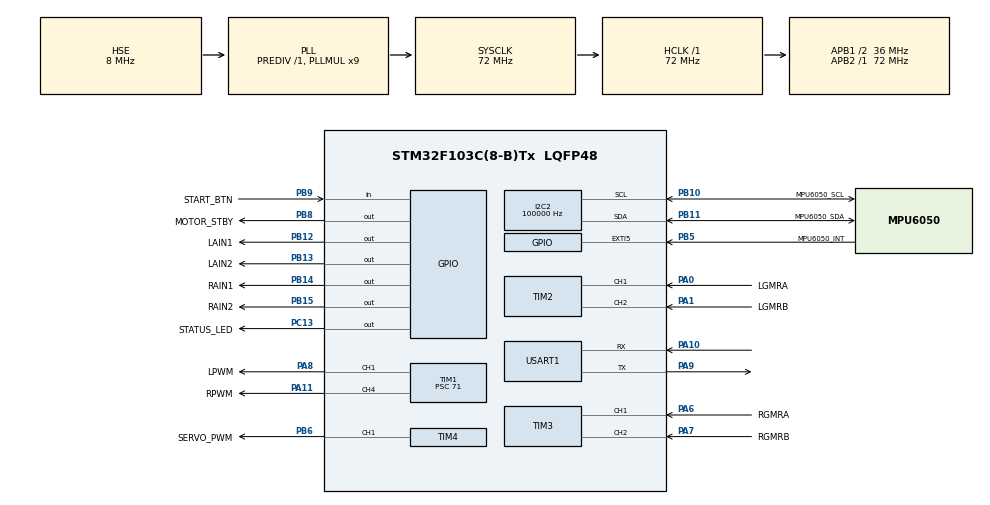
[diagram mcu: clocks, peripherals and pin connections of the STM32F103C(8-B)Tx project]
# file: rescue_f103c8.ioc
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Mcu.Family=STM32F1
Mcu.Name=STM32F103C(8-B)Tx
Mcu.Package=LQFP48
I2C2.ClockSpeed=100000
I2C2.DutyCycle=I2C_DUTYCYCLE_2
NVIC.EXTI9_5_IRQn=true\:1\:0\:false\:false\:true\:true\:true\:true
NVIC.PriorityGroup=NVIC_PRIORITYGROUP_4
NVIC.USART1_IRQn=true\:0\:0\:false\:false\:true\:true\:true\:true
PA0-WKUP.GPIO_Label=LGMRA
PA0-WKUP.Signal=S_TIM2_CH1_ETR
PA1.GPIO_Label=LGMRB
PA1.Signal=S_TIM2_CH2
PA10.Mode=Asynchronous
PA10.Signal=USART1_RX
PA11.GPIO_Label=RPWM
PA11.Signal=S_TIM1_CH4
PA13.Mode=Serial_Wire
PA13.Signal=SYS_JTMS-SWDIO
PA14.Mode=Serial_Wire
PA14.Signal=SYS_JTCK-SWCLK
PA6.GPIO_Label=RGMRA
PA6.Signal=S_TIM3_CH1
PA7.GPIO_Label=RGMRB
PA7.Signal=S_TIM3_CH2
PA8.GPIO_Label=LPWM
PA8.Signal=S_TIM1_CH1
PA9.Mode=Asynchronous
PA9.Signal=USART1_TX
PB10.GPIO_Label=MPU6050_SCL
PB10.Mode=I2C
PB10.Signal=I2C2_SCL
PB11.GPIO_Label=MPU6050_SDA
PB11.Mode=I2C
PB11.Signal=I2C2_SDA
PB12.GPIO_Label=LAIN1
PB12.Signal=GPIO_Output
PB13.GPIO_Label=LAIN2
PB13.Signal=GPIO_Output
PB14.GPIO_Label=RAIN1
PB14.Signal=GPIO_Output
PB15.GPIO_Label=RAIN2
PB15.Signal=GPIO_Output
PB5.GPIO_Label=MPU6050_INT
PB5.GPIO_ModeDefaultEXTI=GPIO_MODE_IT_RISING
PB5.GPIO_PuPd=GPIO_PULLDOWN
PB5.Signal=GPXTI5
PB6.GPIO_Label=SERVO_PWM
PB6.Signal=S_TIM4_CH1
PB8.GPIO_Label=MOTOR_STBY
PB8.Signal=GPIO_Output
PB9.GPIO_Label=START_BTN
PB9.GPIO_PuPd=GPIO_PULLUP
PB9.Signal=GPIO_Input
PC13-TAMPER-RTC.GPIO_Label=STATUS_LED
PC13-TAMPER-RTC.GPIO_Speed=GPIO_SPEED_FREQ_LOW
PC13-TAMPER-RTC.PinState=GPIO_PIN_RESET
PC13-TAMPER-RTC.Signal=GPIO_Output
PD0-OSC_IN.Mode=HSE-External-Oscillator
PD0-OSC_IN.Signal=RCC_OSC_IN
PD1-OSC_OUT.Mode=HSE-External-Oscillator
PD1-OSC_OUT.Signal=RCC_OSC_OUT
ProjectManager.HeapSize=0x200
ProjectManager.StackSize=0x400
ProjectManager.TargetToolchain=CMake
RCC.AHBCLKDivider=RCC_SYSCLK_DIV1
RCC.AHBFreq_Value=72000000
RCC.APB1CLKDivider=RCC_HCLK_DIV2
RCC.APB1Freq_Value=36000000
RCC.APB1TimFreq_Value=72000000
RCC.APB2Freq_Value=72000000
RCC.APB2TimFreq_Value=72000000
RCC.HCLKFreq_Value=72000000
RCC.PLLMUL=RCC_PLL_MUL9
RCC.PLLSourceVirtual=RCC_PLLSOURCE_HSE
RCC.SYSCLKFreq_VALUE=72000000
RCC.SYSCLKSource=RCC_SYSCLKSOURCE_PLLCLK
RCC.USBFreq_Value=72000000
SH.S_TIM1_CH1.0=TIM1_CH1,PWM Generation1 CH1
SH.S_TIM1_CH4.0=TIM1_CH4,PWM Generation4 CH4
SH.S_TIM2_CH1_ETR.0=TIM2_CH1,Encoder_Interface
SH.S_TIM2_CH2.0=TIM2_CH2,Encoder_Interface
SH.S_TIM3_CH1.0=TIM3_CH1,Encoder_Interface
SH.S_TIM3_CH2.0=TIM3_CH2,Encoder_Interface
SH.S_TIM4_CH1.0=TIM4_CH1,PWM Generation1 CH1
TIM1.Channel-PWM\ Generation1\ CH1=TIM_CHANNEL_1
TIM1.Channel-PWM\ Generation4\ CH4=TIM_CHANNEL_4
TIM1.Period=49
TIM1.Prescaler=71
TIM2.EncoderMode=TIM_ENCODERMODE_TI12
TIM2.IC1Filter=4
TIM2.IC2Filter=4
TIM3.EncoderMode=TIM_ENCODERMODE_TI12
TIM3.IC1Filter=4
TIM3.IC2Filter=4
TIM4.Channel-PWM\ Generation1\ CH1=TIM_CHANNEL_1
TIM4.Period=19999
TIM4.Prescaler=71
USART1.VirtualMode=VM_ASYNC
board=custom

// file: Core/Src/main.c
/* USER CODE BEGIN Header */
/**
  ******************************************************************************
  * @file           : main.c
  * @brief          : Main program body
  ******************************************************************************
  * @attention
  *
  * Copyright (c) 2026 STMicroelectronics.
  * All rights reserved.
  *
  * This software is licensed under terms that can be found in the LICENSE file
  * in the root directory of this software component.
  * If no LICENSE file comes with this software, it is provided AS-IS.
  *
  ******************************************************************************
  */
/* USER CODE END Header */
#include "main.h"

/* USER CODE BEGIN Includes */
#include "command.h"
#include "encoder.h"
#include "motor.h"
#include "mpu6050.h"
#include "odometry.h"
#include "servo.h"
#include "speed_control.h"
#include "telemetry.h"

/* USER CODE END Includes */

I2C_HandleTypeDef hi2c2;

TIM_HandleTypeDef htim1;
TIM_HandleTypeDef htim2;
TIM_HandleTypeDef htim3;
TIM_HandleTypeDef htim4;

UART_HandleTypeDef huart1;

void SystemClock_Config(void);
static void MX_GPIO_Init(void);
static void MX_I2C2_Init(void);
static void MX_TIM1_Init(void);
static void MX_TIM2_Init(void);
static void MX_TIM3_Init(void);
static void MX_TIM4_Init(void);
static void MX_USART1_UART_Init(void);

int main(void)
{

  /* MCU Configuration--------------------------------------------------------*/

  /* Reset of all peripherals, Initializes the Flash interface and the Systick. */
  HAL_Init();

  /* Configure the system clock */
  SystemClock_Config();

  /* Initialize all configured peripherals */
  MX_GPIO_Init();
  MX_I2C2_Init();
  MX_TIM1_Init();
  MX_TIM2_Init();
  MX_TIM3_Init();
  MX_TIM4_Init();
  MX_USART1_UART_Init();
  /* USER CODE BEGIN 2 */

  /* PWM 启动后仍保持 MOTOR_STBY=0，直到 START 或实体按钮解锁。 */
  if (Motor_Init(&htim1) != HAL_OK)
  {
    Error_Handler();
  }

  if (Encoder_Init(&htim2, &htim3) != HAL_OK)
  {
    Error_Handler();
  }

  if (Servo_Init(&htim4) != HAL_OK)
  {
    Error_Handler();
  }

  /*
   * IMU(MPU6050) 故障**不得**拖垮整条链路 —— 这里刻意不调用 Error_Handler()。
   *
   * 原因（2026-09-16 现场实际踩到，排查耗时数小时）：
   *   Error_Handler() 是 `__disable_irq(); while(1){}` 的**永久死循环**，
   *   而 Telemetry_Init() 排在 MPU6050_Init() **之后**。于是只要 IMU 没接上 /
   *   没供电 / 虚焊 / SCL·SDA 接错 / WHO_AM_I 不为 0x68，
   *   固件就会在初始化阶段卡死，**遥测一个字节都不发**。
   *   上位机侧表现为"串口能打开但完全无数据"，极易被误判为
   *   RDK 串口故障或接线问题，实际是 IMU 支路把整个 MCU 拖死。
   *
   * 降级行为（各下游本来就已做好守卫，故安全）：
   *   - MPU6050_Update() 有 `if (!initialized) return HAL_ERROR;`
   *   - MPU6050_GetLatestSample() 在 sample_valid=false 时返回 false
   *   - Telemetry_Update() 的 IMU 段仅在 GetLatestSample 为真时才发，
   *     IMU 行自动跳过；ODOM / TEL 以及命令交互照常工作。
   *   即：没有 IMU 时定位用纯里程计（少了陀螺仪修正），但机器人不再变砖。
   *
   * 其他初始化（Motor/Encoder/Servo/Command）只检查静态定时器指针与 HAL 返回值，
   * 现实中不会失败，故仍保留 Error_Handler() 作为真正的致命保护。
   * IMU 状态可用 MPU6050_GetLastStatus() 查询（HAL_OK=正常，其余=故障）。
   */
  (void)MPU6050_Init(&hi2c2);

  SpeedControl_Init();
  Odometry_Init();
  Telemetry_Init(&huart1);

  if (Command_Init(&huart1) != HAL_OK)
  {
    Error_Handler();
  }

  /* USER CODE END 2 */

  /* Infinite loop */
  while (1)
  {

    /* USER CODE BEGIN 3 */
    Command_Update();

    /* IMU 未就绪时周期性重试初始化。
       启动时那次 MPU6050_Init 已改为非致命（不会 Error_Handler 死循环），
       但若就此不重试，开机瞬间没应答就会**整场没有 IMU 帧**
       （2026-09-17 实测：串口只剩 ODOM/TEL，上位机自检报 IMU 失败）。
       本调用失败时每 1s 重试一次，成功后自动转为正常，开销可忽略。 */
    MPU6050_TaskRetryInit(&hi2c2);

    (void)MPU6050_Update();

    if (Encoder_Update())
    {
      Odometry_Update(
          Encoder_GetLeftDelta(),
          Encoder_GetRightDelta(),
          Encoder_GetSamplePeriodSeconds());

      SpeedControl_Update(
          Encoder_GetLeftRpm(),
          Encoder_GetRightRpm(),
          Encoder_GetSamplePeriodSeconds());
    }

    Telemetry_Update(
        (int16_t)SpeedControl_GetLeftTargetRpm(),
        SpeedControl_GetLeftMeasuredRpm(),
        (int16_t)SpeedControl_GetRightTargetRpm(),
        SpeedControl_GetRightMeasuredRpm(),
        Motor_GetLeftCommand(),
        Motor_GetRightCommand());
  }
  /* USER CODE END 3 */
}

void SystemClock_Config(void)
{
  RCC_OscInitTypeDef RCC_OscInitStruct = {0};
  RCC_ClkInitTypeDef RCC_ClkInitStruct = {0};

  /** Initializes the RCC Oscillators according to the specified parameters
  * in the RCC_OscInitTypeDef structure.
  */
  RCC_OscInitStruct.OscillatorType = RCC_OSCILLATORTYPE_HSE;
  RCC_OscInitStruct.HSEState = RCC_HSE_ON;
  RCC_OscInitStruct.HSEPredivValue = RCC_HSE_PREDIV_DIV1;
  RCC_OscInitStruct.HSIState = RCC_HSI_ON;
  RCC_OscInitStruct.PLL.PLLState = RCC_PLL_ON;
  RCC_OscInitStruct.PLL.PLLSource = RCC_PLLSOURCE_HSE;
  RCC_OscInitStruct.PLL.PLLMUL = RCC_PLL_MUL9;
  if (HAL_RCC_OscConfig(&RCC_OscInitStruct) != HAL_OK)
  {
    Error_Handler();
  }

  /** Initializes the CPU, AHB and APB buses clocks
  */
  RCC_ClkInitStruct.ClockType = RCC_CLOCKTYPE_HCLK|RCC_CLOCKTYPE_SYSCLK
                              |RCC_CLOCKTYPE_PCLK1|RCC_CLOCKTYPE_PCLK2;
  RCC_ClkInitStruct.SYSCLKSource = RCC_SYSCLKSOURCE_PLLCLK;
  RCC_ClkInitStruct.AHBCLKDivider = RCC_SYSCLK_DIV1;
  RCC_ClkInitStruct.APB1CLKDivider = RCC_HCLK_DIV2;
  RCC_ClkInitStruct.APB2CLKDivider = RCC_HCLK_DIV1;

  if (HAL_RCC_ClockConfig(&RCC_ClkInitStruct, FLASH_LATENCY_2) != HAL_OK)
  {
    Error_Handler();
  }
}

static void MX_I2C2_Init(void)
{

  hi2c2.Instance = I2C2;
  hi2c2.Init.ClockSpeed = 100000;
  hi2c2.Init.DutyCycle = I2C_DUTYCYCLE_2;
  hi2c2.Init.OwnAddress1 = 0;
  hi2c2.Init.AddressingMode = I2C_ADDRESSINGMODE_7BIT;
  hi2c2.Init.DualAddressMode = I2C_DUALADDRESS_DISABLE;
  hi2c2.Init.OwnAddress2 = 0;
  hi2c2.Init.GeneralCallMode = I2C_GENERALCALL_DISABLE;
  hi2c2.Init.NoStretchMode = I2C_NOSTRETCH_DISABLE;
  if (HAL_I2C_Init(&hi2c2) != HAL_OK)
  {
    Error_Handler();
  }

}

static void MX_TIM1_Init(void)
{

  TIM_MasterConfigTypeDef sMasterConfig = {0};
  TIM_OC_InitTypeDef sConfigOC = {0};
  TIM_BreakDeadTimeConfigTypeDef sBreakDeadTimeConfig = {0};

  htim1.Instance = TIM1;
  htim1.Init.Prescaler = 71;
  htim1.Init.CounterMode = TIM_COUNTERMODE_UP;
  htim1.Init.Period = 49;
  htim1.Init.ClockDivision = TIM_CLOCKDIVISION_DIV1;
  htim1.Init.RepetitionCounter = 0;
  htim1.Init.AutoReloadPreload = TIM_AUTORELOAD_PRELOAD_DISABLE;
  if (HAL_TIM_PWM_Init(&htim1) != HAL_OK)
  {
    Error_Handler();
  }
  sMasterConfig.MasterOutputTrigger = TIM_TRGO_RESET;
  sMasterConfig.MasterSlaveMode = TIM_MASTERSLAVEMODE_DISABLE;
  if (HAL_TIMEx_MasterConfigSynchronization(&htim1, &sMasterConfig) != HAL_OK)
  {
    Error_Handler();
  }
  sConfigOC.OCMode = TIM_OCMODE_PWM1;
  sConfigOC.Pulse = 0;
  sConfigOC.OCPolarity = TIM_OCPOLARITY_HIGH;
  sConfigOC.OCNPolarity = TIM_OCNPOLARITY_HIGH;
  sConfigOC.OCFastMode = TIM_OCFAST_DISABLE;
  sConfigOC.OCIdleState = TIM_OCIDLESTATE_RESET;
  sConfigOC.OCNIdleState = TIM_OCNIDLESTATE_RESET;
  if (HAL_TIM_PWM_ConfigChannel(&htim1, &sConfigOC, TIM_CHANNEL_1) != HAL_OK)
  {
    Error_Handler();
  }
  if (HAL_TIM_PWM_ConfigChannel(&htim1, &sConfigOC, TIM_CHANNEL_4) != HAL_OK)
  {
    Error_Handler();
  }
  sBreakDeadTimeConfig.OffStateRunMode = TIM_OSSR_DISABLE;
  sBreakDeadTimeConfig.OffStateIDLEMode = TIM_OSSI_DISABLE;
  sBreakDeadTimeConfig.LockLevel = TIM_LOCKLEVEL_OFF;
  sBreakDeadTimeConfig.DeadTime = 0;
  sBreakDeadTimeConfig.BreakState = TIM_BREAK_DISABLE;
  sBreakDeadTimeConfig.BreakPolarity = TIM_BREAKPOLARITY_HIGH;
  sBreakDeadTimeConfig.AutomaticOutput = TIM_AUTOMATICOUTPUT_DISABLE;
  if (HAL_TIMEx_ConfigBreakDeadTime(&htim1, &sBreakDeadTimeConfig) != HAL_OK)
  {
    Error_Handler();
  }
  HAL_TIM_MspPostInit(&htim1);

}

static void MX_TIM2_Init(void)
{

  TIM_Encoder_InitTypeDef sConfig = {0};
  TIM_MasterConfigTypeDef sMasterConfig = {0};

  htim2.Instance = TIM2;
  htim2.Init.Prescaler = 0;
  htim2.Init.CounterMode = TIM_COUNTERMODE_UP;
  htim2.Init.Period = 65535;
  htim2.Init.ClockDivision = TIM_CLOCKDIVISION_DIV1;
  htim2.Init.AutoReloadPreload = TIM_AUTORELOAD_PRELOAD_DISABLE;
  sConfig.EncoderMode = TIM_ENCODERMODE_TI12;
  sConfig.IC1Polarity = TIM_ICPOLARITY_RISING;
  sConfig.IC1Selection = TIM_ICSELECTION_DIRECTTI;
  sConfig.IC1Prescaler = TIM_ICPSC_DIV1;
  sConfig.IC1Filter = 4;
  sConfig.IC2Polarity = TIM_ICPOLARITY_RISING;
  sConfig.IC2Selection = TIM_ICSELECTION_DIRECTTI;
  sConfig.IC2Prescaler = TIM_ICPSC_DIV1;
  sConfig.IC2Filter = 4;
  if (HAL_TIM_Encoder_Init(&htim2, &sConfig) != HAL_OK)
  {
    Error_Handler();
  }
  sMasterConfig.MasterOutputTrigger = TIM_TRGO_RESET;
  sMasterConfig.MasterSlaveMode = TIM_MASTERSLAVEMODE_DISABLE;
  if (HAL_TIMEx_MasterConfigSynchronization(&htim2, &sMasterConfig) != HAL_OK)
  {
    Error_Handler();
  }

}

static void MX_TIM3_Init(void)
{

  TIM_Encoder_InitTypeDef sConfig = {0};
  TIM_MasterConfigTypeDef sMasterConfig = {0};

  htim3.Instance = TIM3;
  htim3.Init.Prescaler = 0;
  htim3.Init.CounterMode = TIM_COUNTERMODE_UP;
  htim3.Init.Period = 65535;
  htim3.Init.ClockDivision = TIM_CLOCKDIVISION_DIV1;
  htim3.Init.AutoReloadPreload = TIM_AUTORELOAD_PRELOAD_DISABLE;
  sConfig.EncoderMode = TIM_ENCODERMODE_TI12;
  sConfig.IC1Polarity = TIM_ICPOLARITY_RISING;
  sConfig.IC1Selection = TIM_ICSELECTION_DIRECTTI;
  sConfig.IC1Prescaler = TIM_ICPSC_DIV1;
  sConfig.IC1Filter = 4;
  sConfig.IC2Polarity = TIM_ICPOLARITY_RISING;
  sConfig.IC2Selection = TIM_ICSELECTION_DIRECTTI;
  sConfig.IC2Prescaler = TIM_ICPSC_DIV1;
  sConfig.IC2Filter = 4;
  if (HAL_TIM_Encoder_Init(&htim3, &sConfig) != HAL_OK)
  {
    Error_Handler();
  }
  sMasterConfig.MasterOutputTrigger = TIM_TRGO_RESET;
  sMasterConfig.MasterSlaveMode = TIM_MASTERSLAVEMODE_DISABLE;
  if (HAL_TIMEx_MasterConfigSynchronization(&htim3, &sMasterConfig) != HAL_OK)
  {
    Error_Handler();
  }

}

static void MX_TIM4_Init(void)
{

  TIM_MasterConfigTypeDef sMasterConfig = {0};
  TIM_OC_InitTypeDef sConfigOC = {0};

  htim4.Instance = TIM4;
  htim4.Init.Prescaler = 71;
  htim4.Init.CounterMode = TIM_COUNTERMODE_UP;
  htim4.Init.Period = 19999;
  htim4.Init.ClockDivision = TIM_CLOCKDIVISION_DIV1;
  htim4.Init.AutoReloadPreload = TIM_AUTORELOAD_PRELOAD_DISABLE;
  if (HAL_TIM_PWM_Init(&htim4) != HAL_OK)
  {
    Error_Handler();
  }
  sMasterConfig.MasterOutputTrigger = TIM_TRGO_RESET;
  sMasterConfig.MasterSlaveMode = TIM_MASTERSLAVEMODE_DISABLE;
  if (HAL_TIMEx_MasterConfigSynchronization(&htim4, &sMasterConfig) != HAL_OK)
  {
    Error_Handler();
  }
  sConfigOC.OCMode = TIM_OCMODE_PWM1;
  sConfigOC.Pulse = SERVO_RAISED_PULSE_US;
  sConfigOC.OCPolarity = TIM_OCPOLARITY_HIGH;
  sConfigOC.OCFastMode = TIM_OCFAST_DISABLE;
  if (HAL_TIM_PWM_ConfigChannel(&htim4, &sConfigOC, TIM_CHANNEL_1) != HAL_OK)
  {
    Error_Handler();
  }
  HAL_TIM_MspPostInit(&htim4);

}

static void MX_USART1_UART_Init(void)
{

  huart1.Instance = USART1;
  huart1.Init.BaudRate = 115200;
  huart1.Init.WordLength = UART_WORDLENGTH_8B;
  huart1.Init.StopBits = UART_STOPBITS_1;
  huart1.Init.Parity = UART_PARITY_NONE;
  huart1.Init.Mode = UART_MODE_TX_RX;
  huart1.Init.HwFlowCtl = UART_HWCONTROL_NONE;
  huart1.Init.OverSampling = UART_OVERSAMPLING_16;
  if (HAL_UART_Init(&huart1) != HAL_OK)
  {
    Error_Handler();
  }

}

static void MX_GPIO_Init(void)
{
  GPIO_InitTypeDef GPIO_InitStruct = {0};

  /* GPIO Ports Clock Enable */
  __HAL_RCC_GPIOC_CLK_ENABLE();
  __HAL_RCC_GPIOD_CLK_ENABLE();
  __HAL_RCC_GPIOA_CLK_ENABLE();
  __HAL_RCC_GPIOB_CLK_ENABLE();

  /*Configure GPIO pin Output Level */
  HAL_GPIO_WritePin(STATUS_LED_GPIO_Port, STATUS_LED_Pin, GPIO_PIN_RESET);

  /*Configure GPIO pin Output Level */
  HAL_GPIO_WritePin(GPIOB, LAIN1_Pin|LAIN2_Pin|RAIN1_Pin|RAIN2_Pin
                          |MOTOR_STBY_Pin, GPIO_PIN_RESET);

  /*Configure GPIO pin : STATUS_LED_Pin */
  GPIO_InitStruct.Pin = STATUS_LED_Pin;
  GPIO_InitStruct.Mode = GPIO_MODE_OUTPUT_PP;
  GPIO_InitStruct.Pull = GPIO_NOPULL;
  GPIO_InitStruct.Speed = GPIO_SPEED_FREQ_LOW;
  HAL_GPIO_Init(STATUS_LED_GPIO_Port, &GPIO_InitStruct);

  /*Configure GPIO pins : LAIN1_Pin LAIN2_Pin RAIN1_Pin RAIN2_Pin
                           MOTOR_STBY_Pin */
  GPIO_InitStruct.Pin = LAIN1_Pin|LAIN2_Pin|RAIN1_Pin|RAIN2_Pin
                          |MOTOR_STBY_Pin;
  GPIO_InitStruct.Mode = GPIO_MODE_OUTPUT_PP;
  GPIO_InitStruct.Pull = GPIO_NOPULL;
  GPIO_InitStruct.Speed = GPIO_SPEED_FREQ_LOW;
  HAL_GPIO_Init(GPIOB, &GPIO_InitStruct);

  /*Configure GPIO pin : START_BTN_Pin */
  GPIO_InitStruct.Pin = START_BTN_Pin;
  GPIO_InitStruct.Mode = GPIO_MODE_INPUT;
  GPIO_InitStruct.Pull = GPIO_PULLUP;
  HAL_GPIO_Init(START_BTN_GPIO_Port, &GPIO_InitStruct);

  /*Configure GPIO pin : MPU6050_INT_Pin */
  GPIO_InitStruct.Pin = MPU6050_INT_Pin;
  GPIO_InitStruct.Mode = GPIO_MODE_IT_RISING;
  GPIO_InitStruct.Pull = GPIO_PULLDOWN;
  HAL_GPIO_Init(MPU6050_INT_GPIO_Port, &GPIO_InitStruct);

  /* EXTI interrupt init*/
  HAL_NVIC_SetPriority(EXTI9_5_IRQn, 1, 0);
  HAL_NVIC_EnableIRQ(EXTI9_5_IRQn);

}

/* USER CODE BEGIN 4 */

void HAL_GPIO_EXTI_Callback(uint16_t GPIO_Pin)
{
  if (GPIO_Pin == MPU6050_INT_Pin)
  {
    MPU6050_NotifyDataReadyFromIsr();
  }
}

/* USER CODE END 4 */

void Error_Handler(void)
{
  /* USER CODE BEGIN Error_Handler_Debug */
  /* User can add his own implementation to report the HAL error return state */
  Motor_Disable();
  Servo_Raise();
  HAL_GPIO_WritePin(STATUS_LED_GPIO_Port, STATUS_LED_Pin, GPIO_PIN_RESET);
  __disable_irq();
  while (1)
  {
  }
  /* USER CODE END Error_Handler_Debug */
}
